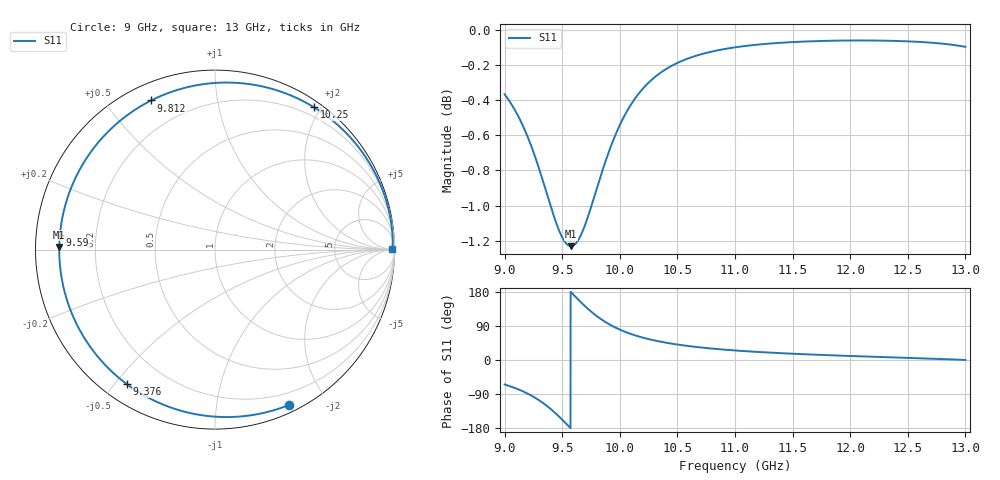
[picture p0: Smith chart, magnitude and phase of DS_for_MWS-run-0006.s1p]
! TOUCHSTONE file generated by CST DESIGN STUDIO
! Date and time: Tue Feb  4 18:11:14 2025
! Project name: C:\Work\MatlabApps\UnitCellOptimizationMatlab\CST\unitcell.cst
! Tree item: Tasks\Sweep1\SPara1\S-Parameters
! Header version: 2024
! Port assignment regex: !\s*Touchstone port\s*([0-9]+)\s*=\s*(CST MWS port|CST DES external port|CST DES block port)\s*(.+)\s* \(\"(.*)\"\)(\s*mode\s*([0-9]+))?.*
! Touchstone port assignment:
! Touchstone port 1 = CST DES external port 1 ("")
# GHz S MA R 50
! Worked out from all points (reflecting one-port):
!   4001 points, 9 GHz to 13 GHz, reference 50 ohm
!   lowest |S11| = -1.2 dB at 9.576 GHz (marker M1), VSWR 14.13, Z = 3.54 + j0.425 ohm
!   phase of S11 starts at -65 deg and turns -295 deg over the sweep
!   S11 on the Smith chart (normalised r, x): 9 GHz: 0.07, -1.58; 9.376 GHz: 0.07, -0.54; 9.59 GHz: 0.07, +0.05; 9.812 GHz: 0.07, +0.66; 10.25 GHz: 0.08, +1.91; 13 GHz: open
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9  0.9586 -64.7
9.044  0.9541 -69.0
9.111  0.9459 -76.5
9.226  0.9277 -92.9
9.305  0.9118 -107.4
9.376  0.8961 -123.3
9.437  0.8832 -139.1
9.5  0.8729 -157.4
9.539  0.8691 -169.4
9.576  0.8678 179.0
9.59  0.868 174.6
9.645  0.872 157.6
9.707  0.8816 139.5
9.759  0.8922 125.7
9.812  0.9038 113.2
9.853  0.9127 104.5
9.897  0.9216 96.2
10  0.9395 80.2
10.117  0.9544 66.5
10.249  0.9659 55.2
10.366  0.9729 47.6
10.5  0.9785 40.8
10.721  0.9844 32.5
11  0.9885 25.2
11.5  0.9919 16.6
12  0.993 10.6
12.5  0.9924 5.6
13  0.9889 0.1
